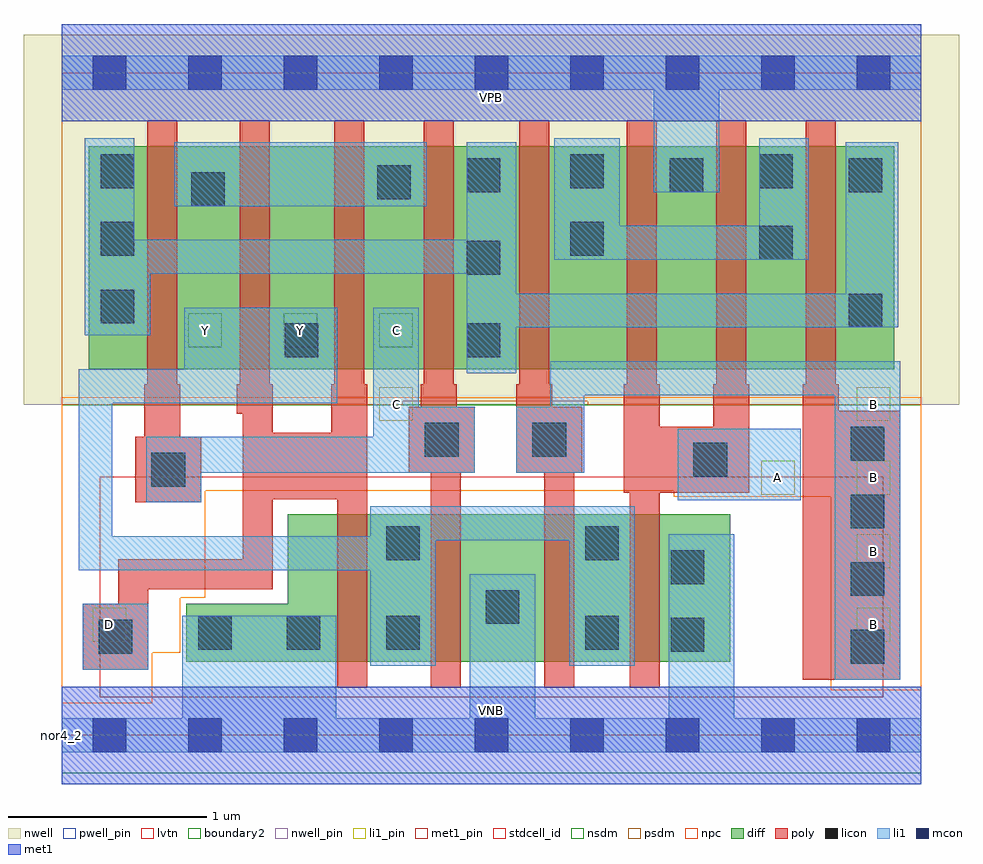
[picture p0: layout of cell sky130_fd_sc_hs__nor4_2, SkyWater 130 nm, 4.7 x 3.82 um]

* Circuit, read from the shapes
.subckt sky130_fd_sc_hs__nor4_2 A B C D VGND VNB VPB VPWR Y
XM1 Y D VGND VNB sky130_fd_pr__nfet_01v8_lvt w=0.74 l=0.15
XM2 VGND C Y VNB sky130_fd_pr__nfet_01v8_lvt w=0.74 l=0.15
XM3 Y B VGND VNB sky130_fd_pr__nfet_01v8_lvt w=0.74 l=0.15
XM4 VGND A Y VNB sky130_fd_pr__nfet_01v8_lvt w=0.74 l=0.15
XM5 n1 C n2 VPB sky130_fd_pr__pfet_01v8 w=1.12 l=0.15 m=2
XM6 Y D n1 VPB sky130_fd_pr__pfet_01v8 w=1.12 l=0.15 m=2
XM7 n3 B n2 VPB sky130_fd_pr__pfet_01v8 w=1.12 l=0.15 m=2
XM8 VPWR A n3 VPB sky130_fd_pr__pfet_01v8 w=1.12 l=0.15 m=2
.ends

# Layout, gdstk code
import gdstk
lib = gdstk.Library(unit=1e-6, precision=1e-09)
def R(c, l, rs):  # rectangles x0, y0, x1, y1
    for r in rs: c.add(gdstk.rectangle(r[:2], r[2:], *l))
def A(c, l, x, y, w, h, nx, ny, dx, dy):  # array of equal rectangles
    R(c, l, [(x+i*dx, y+j*dy, x+i*dx+w, y+j*dy+h) for i in range(nx) for j in range(ny)])
def P(c, l, *ps):  # polygons
    for p in ps: c.add(gdstk.Polygon(p, *l))
nwell_pin = (64, 16)
nwell = (64, 20)
diff = (65, 20)
poly = (66, 20)
licon = (66, 44)
li1_pin = (67, 16)
li1 = (67, 20)
mcon = (67, 44)
met1_pin = (68, 16)
met1 = (68, 20)
stdcell_id = (81, 4)
nsdm = (93, 44)
psdm = (94, 20)
npc = (95, 20)
pwell_pin = (122, 16)
lvtn = (125, 44)
boundary2 = (236, 0)

sky130_fd_sc_hs__nor4_2 = lib.new_cell('sky130_fd_sc_hs__nor4_2')
R(sky130_fd_sc_hs__nor4_2, nwell_pin, [(0,3.085,4.32,3.33)])
R(sky130_fd_sc_hs__nor4_2, nwell, [(-0.19,1.66,4.51,3.52)])
R(sky130_fd_sc_hs__nor4_2, diff, [(0.135,1.84,4.185,2.96)])
P(sky130_fd_sc_hs__nor4_2, diff, [(3.36,1.11),(1.135,1.11),(1.135,0.66),(0.625,0.66),(0.625,0.37),(3.36,0.37)])
P(sky130_fd_sc_hs__nor4_2, poly, [(4.215,1.63),(3.905,1.63),(3.905,1.765),(3.89,1.765),(3.89,3.09),(3.74,3.09),(3.74,1.765),(3.725,1.765),(3.725,0.28),(4.215,0.28)],
  [(3.455,1.765),(3.44,1.765),(3.44,3.09),(3.29,3.09),(3.29,1.765),(3.275,1.765),(3.275,1.55),(3.005,1.55),(3.005,1.765),(2.99,1.765),(2.99,3.09),(2.84,3.09),(2.84,1.765),(2.825,1.765),(2.825,1.22),(2.855,1.22),(2.855,0.24),(3.005,0.24),(3.005,1.22),(3.455,1.22)],
  [(2.615,1.65),(2.465,1.65),(2.465,1.765),(2.45,1.765),(2.45,3.09),(2.3,3.09),(2.3,1.765),(2.285,1.765),(2.285,1.32),(2.425,1.32),(2.425,0.24),(2.575,0.24),(2.575,1.32),(2.615,1.32)],
  [(2.075,1.65),(1.985,1.65),(1.985,1.765),(1.97,1.765),(1.97,3.09),(1.82,3.09),(1.82,1.765),(1.805,1.765),(1.805,1.65),(1.745,1.65),(1.745,1.32),(1.855,1.32),(1.855,0.24),(2.005,0.24),(2.005,1.32),(2.075,1.32)],
  [(1.535,1.765),(1.52,1.765),(1.52,3.09),(1.37,3.09),(1.37,1.765),(1.355,1.765),(1.355,1.52),(1.06,1.52),(1.06,1.765),(1.045,1.765),(1.045,3.09),(0.895,3.09),(0.895,1.765),(0.88,1.765),(0.88,1.615),(0.91,1.615),(0.91,0.885),(0.285,0.885),(0.285,0.66),(0.105,0.66),(0.105,0.33),(0.435,0.33),(0.435,0.735),(1.06,0.735),(1.06,1.185),(1.385,1.185),(1.385,0.24),(1.535,0.24)],
  [(0.7,1.5),(0.595,1.5),(0.595,1.765),(0.58,1.765),(0.58,3.09),(0.43,3.09),(0.43,1.765),(0.415,1.765),(0.415,1.5),(0.37,1.5),(0.37,1.17),(0.7,1.17)])
A(sky130_fd_sc_hs__nor4_2, licon, 3.965, 0.36, 0.17, 0.17, 1, 4, 0, 0.34)
A(sky130_fd_sc_hs__nor4_2, licon, 2.035, 1.9, 0.17, 0.17, 1, 3, 0, 0.415)
A(sky130_fd_sc_hs__nor4_2, licon, 0.195, 2.07, 0.17, 0.17, 1, 3, 0, 0.34)
R(sky130_fd_sc_hs__nor4_2, licon, [(0.185,0.41,0.355,0.58), (3.06,0.42,3.23,0.59), (0.685,0.43,0.855,0.6), (1.13,0.43,1.3,0.6), (1.63,0.43,1.8,0.6), (2.63,0.43,2.8,0.6), (2.13,0.56,2.3,0.73), (3.06,0.76,3.23,0.93), (1.63,0.88,1.8,1.05), (2.63,0.88,2.8,1.05), (0.45,1.25,0.62,1.42), (3.175,1.3,3.345,1.47), (1.825,1.4,1.995,1.57), (2.365,1.4,2.535,1.57), (1.12,1.9,1.29,2.07), (3.955,2.05,4.125,2.22), (3.505,2.39,3.675,2.56), (2.555,2.41,2.725,2.58), (0.65,2.66,0.82,2.83), (1.585,2.695,1.755,2.865), (3.055,2.73,3.225,2.9), (3.955,2.73,4.125,2.9), (2.555,2.75,2.725,2.92), (3.505,2.75,3.675,2.92)])
A(sky130_fd_sc_hs__nor4_2, li1_pin, 3.995, 0.47, 0.17, 0.17, 1, 4, 0, 0.37)
A(sky130_fd_sc_hs__nor4_2, li1_pin, 0.635, 1.95, 0.17, 0.17, 3, 1, 0.48, 0)
R(sky130_fd_sc_hs__nor4_2, li1_pin, [(0.155,0.47,0.325,0.64), (3.515,1.21,3.685,1.38), (1.595,1.58,1.765,1.75)])
R(sky130_fd_sc_hs__nor4_2, li1, [(0.105,0.33,0.435,0.66), (3.095,1.18,3.715,1.54), (0.565,2.66,1.835,2.98)])
P(sky130_fd_sc_hs__nor4_2, li1, [(0,-0.085),(0,0.085),(0.605,0.085),(0.605,0.6),(1.38,0.6),(1.38,0.085),(2.05,0.085),(2.05,0.81),(2.38,0.81),(2.38,0.085),(3.05,0.085),(3.05,1.01),(3.38,1.01),(3.38,0.085),(4.32,0.085),(4.32,-0.085)],
  [(0,3.245),(0,3.415),(4.32,3.415),(4.32,3.245),(3.305,3.245),(3.305,2.73),(2.975,2.73),(2.975,3.245)],
  [(1.565,1.5),(1.565,2.15),(1.795,2.15),(1.795,1.65),(2.075,1.65),(2.075,1.32),(0.7,1.32),(0.7,1.17),(0.425,1.17),(0.425,1.5)],
  [(2.455,1.88),(4.215,1.88),(4.215,0.28),(3.885,0.28),(3.885,1.71),(2.625,1.71),(2.625,1.32),(2.285,1.32),(2.285,1.65),(2.455,1.65)],
  [(0.615,1.84),(0.615,2.15),(1.385,2.15),(1.385,1.67),(0.255,1.67),(0.255,1),(1.55,1),(1.55,1.15),(2.88,1.15),(2.88,0.35),(2.55,0.35),(2.55,0.98),(1.88,0.98),(1.88,0.35),(1.55,0.35),(1.55,0.83),(0.085,0.83),(0.085,1.84)],
  [(2.805,2.56),(3.505,2.56),(3.505,3),(3.755,3),(3.755,2.39),(2.475,2.39),(2.475,3),(2.805,3)],
  [(0.365,2.49),(2.035,2.49),(2.035,2.98),(2.285,2.98),(2.285,2.22),(3.94,2.22),(3.94,2.98),(4.205,2.98),(4.205,2.05),(2.285,2.05),(2.285,1.82),(2.035,1.82),(2.035,2.32),(0.445,2.32),(0.445,2.01),(0.115,2.01),(0.115,3),(0.365,3)])
A(sky130_fd_sc_hs__nor4_2, mcon, 0.155, -0.085, 0.17, 0.17, 9, 2, 0.48, 3.33)
R(sky130_fd_sc_hs__nor4_2, met1_pin, [(0,0,4.32,0.245), (0,3.085,4.32,3.33)])
R(sky130_fd_sc_hs__nor4_2, met1, [(0,-0.245,4.32,0.245), (0,3.085,4.32,3.575)])
R(sky130_fd_sc_hs__nor4_2, stdcell_id, [(0,0,4.32,3.33)])
R(sky130_fd_sc_hs__nor4_2, nsdm, [(0,-0.19,4.32,1.66)])
P(sky130_fd_sc_hs__nor4_2, psdm, [(4.32,3.52),(0,3.52),(0,1.66),(1.715,1.66),(1.715,1.68),(2.645,1.68),(2.645,1.66),(4.32,1.66)])
P(sky130_fd_sc_hs__nor4_2, npc, [(4.32,1.7),(0,1.7),(0,0.16),(0.455,0.16),(0.455,0.415),(0.595,0.415),(0.595,0.69),(0.72,0.69),(0.72,1.23),(3.075,1.23),(3.075,1.2),(3.865,1.2),(3.865,0.225),(4.32,0.225)])
R(sky130_fd_sc_hs__nor4_2, pwell_pin, [(0,0,4.32,0.245)])
R(sky130_fd_sc_hs__nor4_2, lvtn, [(0.19,0.19,4.13,1.3)])
R(sky130_fd_sc_hs__nor4_2, boundary2, [(0,0,4.32,3.33)])
sky130_fd_sc_hs__nor4_2.add(gdstk.Label('nor4_2', (0,0), layer=83, texttype=44))
sky130_fd_sc_hs__nor4_2.add(gdstk.Label('VNB', (2.16,0.123), layer=64, texttype=59))
sky130_fd_sc_hs__nor4_2.add(gdstk.Label('VPB', (2.16,3.208), layer=64, texttype=5))
sky130_fd_sc_hs__nor4_2.add(gdstk.Label('VPWR', (2.16,3.208), layer=68, texttype=5))
sky130_fd_sc_hs__nor4_2.add(gdstk.Label('VGND', (2.16,0.123), layer=68, texttype=5))
sky130_fd_sc_hs__nor4_2.add(gdstk.Label('C', (1.68,1.665), layer=67, texttype=5))
sky130_fd_sc_hs__nor4_2.add(gdstk.Label('C', (1.68,2.035), layer=67, texttype=5))
sky130_fd_sc_hs__nor4_2.add(gdstk.Label('A', (3.6,1.295), layer=67, texttype=5))
sky130_fd_sc_hs__nor4_2.add(gdstk.Label('B', (4.08,0.555), layer=67, texttype=5))
sky130_fd_sc_hs__nor4_2.add(gdstk.Label('B', (4.08,0.925), layer=67, texttype=5))
sky130_fd_sc_hs__nor4_2.add(gdstk.Label('B', (4.08,1.295), layer=67, texttype=5))
sky130_fd_sc_hs__nor4_2.add(gdstk.Label('B', (4.08,1.665), layer=67, texttype=5))
sky130_fd_sc_hs__nor4_2.add(gdstk.Label('D', (0.24,0.555), layer=67, texttype=5))
sky130_fd_sc_hs__nor4_2.add(gdstk.Label('Y', (0.72,2.035), layer=67, texttype=5))
sky130_fd_sc_hs__nor4_2.add(gdstk.Label('Y', (1.2,2.035), layer=67, texttype=5))

lib.write_gds('sky130_fd_sc_hs__nor4_2.gds')
